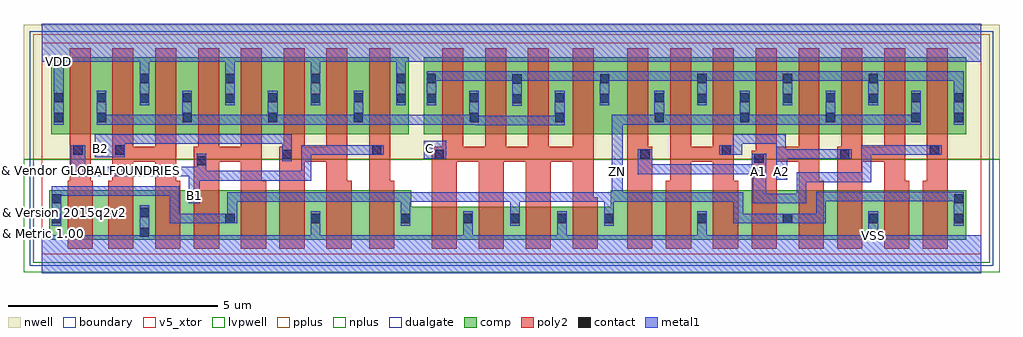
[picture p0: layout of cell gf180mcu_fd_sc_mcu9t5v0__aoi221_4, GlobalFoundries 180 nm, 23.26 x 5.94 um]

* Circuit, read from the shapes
.subckt gf180mcu_fd_sc_mcu9t5v0__aoi221_4 A1 A2 B1 B2 C VDD VSS ZN
XM1 n1 B1 ZN VSUBS nfet_05v0 w=1.185u l=0.6u
XM2 VSS B2 n1 VSUBS nfet_05v0 w=1.185u l=0.6u
XM3 n2 B2 VSS VSUBS nfet_05v0 w=1.185u l=0.6u
XM4 ZN B1 n2 VSUBS nfet_05v0 w=1.185u l=0.6u
XM5 n3 B1 ZN VSUBS nfet_05v0 w=1.185u l=0.6u
XM6 VSS B2 n3 VSUBS nfet_05v0 w=1.185u l=0.6u
XM7 n4 B2 VSS VSUBS nfet_05v0 w=1.185u l=0.6u
XM8 ZN B1 n4 VSUBS nfet_05v0 w=1.185u l=0.6u
XM9 VSS C ZN VSUBS nfet_05v0 w=0.79u l=0.6u m=4
XM10 n5 A1 ZN VSUBS nfet_05v0 w=1.185u l=0.6u
XM11 VSS A2 n5 VSUBS nfet_05v0 w=1.185u l=0.6u
XM12 n6 A2 VSS VSUBS nfet_05v0 w=1.185u l=0.6u
XM13 ZN A1 n6 VSUBS nfet_05v0 w=1.185u l=0.6u
XM14 n7 A1 ZN VSUBS nfet_05v0 w=1.185u l=0.6u
XM15 VSS A2 n7 VSUBS nfet_05v0 w=1.185u l=0.6u
XM16 n8 A2 VSS VSUBS nfet_05v0 w=1.185u l=0.6u
XM17 ZN A1 n8 VSUBS nfet_05v0 w=1.185u l=0.6u
XM18 n9 B1 VDD n10 pfet_05v0 w=1.83u l=0.5u m=4
XM19 VDD B2 n9 n10 pfet_05v0 w=1.83u l=0.5u m=4
XM20 n9 C n11 n10 pfet_05v0 w=1.83u l=0.5u m=4
XM21 ZN A1 n11 n10 pfet_05v0 w=1.83u l=0.5u m=4
XM22 n11 A2 ZN n10 pfet_05v0 w=1.83u l=0.5u m=4
.ends

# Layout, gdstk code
import gdstk
lib = gdstk.Library(unit=1e-6, precision=1e-09)
def R(c, l, rs):  # rectangles x0, y0, x1, y1
    for r in rs: c.add(gdstk.rectangle(r[:2], r[2:], *l))
def A(c, l, x, y, w, h, nx, ny, dx, dy):  # array of equal rectangles
    R(c, l, [(x+i*dx, y+j*dy, x+i*dx+w, y+j*dy+h) for i in range(nx) for j in range(ny)])
def P(c, l, *ps):  # polygons
    for p in ps: c.add(gdstk.Polygon(p, *l))
boundary = (0, 0)
nwell = (21, 0)
comp = (22, 0)
poly2 = (30, 0)
pplus = (31, 0)
nplus = (32, 0)
contact = (33, 0)
metal1 = (34, 0)
dualgate = (55, 0)
v5_xtor = (112, 1)
lvpwell = (204, 0)

gf180mcu_fd_sc_mcu9t5v0_ = lib.new_cell('gf180mcu_fd_sc_mcu9t5v0__aoi221_4')
R(gf180mcu_fd_sc_mcu9t5v0_, boundary, [(0,0,22.4,5.04)])
R(gf180mcu_fd_sc_mcu9t5v0_, nwell, [(-0.43,2.265,22.83,5.47)])
R(gf180mcu_fd_sc_mcu9t5v0_, comp, [(0.23,2.865,8.75,4.695), (9.11,2.865,22.04,4.695)])
P(gf180mcu_fd_sc_mcu9t5v0_, comp, [(0.18,0.345),(0.18,1.53),(8.81,1.53),(8.81,1.135),(13.56,1.135),(13.56,1.53),(22.04,1.53),(22.04,0.345)])
P(gf180mcu_fd_sc_mcu9t5v0_, poly2, [(0.62,0.125),(0.62,1.75),(0.67,1.75),(0.67,4.915),(1.17,4.915),(1.17,1.75),(1.22,1.75),(1.22,0.125)],
  [(1.59,0.125),(1.59,1.75),(1.69,1.75),(1.69,4.915),(2.19,4.915),(2.19,2.565),(2.71,2.565),(2.71,4.915),(3.21,4.915),(3.21,1.75),(3.31,1.75),(3.31,0.125),(2.71,0.125),(2.71,2.205),(2.19,2.205),(2.19,0.125)],
  [(3.63,0.125),(3.63,2.565),(3.73,2.565),(3.73,4.915),(4.23,4.915),(4.23,2.565),(4.75,2.565),(4.75,4.915),(5.25,4.915),(5.25,1.75),(5.35,1.75),(5.35,0.125),(4.75,0.125),(4.75,2.205),(4.23,2.205),(4.23,0.125)],
  [(5.67,0.125),(5.67,2.565),(5.77,2.565),(5.77,4.915),(6.27,4.915),(6.27,2.565),(6.79,2.565),(6.79,4.915),(7.29,4.915),(7.29,1.75),(7.39,1.75),(7.39,0.125),(6.79,0.125),(6.79,2.205),(6.27,2.205),(6.27,0.125)],
  [(7.81,0.125),(7.81,4.915),(8.31,4.915),(8.31,1.75),(8.41,1.75),(8.41,0.125)],
  [(9.3,0.125),(9.3,2.565),(9.55,2.565),(9.55,4.915),(10.05,4.915),(10.05,2.565),(10.57,2.565),(10.57,4.915),(11.07,4.915),(11.07,2.565),(11.59,2.565),(11.59,4.915),(12.09,4.915),(12.09,2.565),(12.66,2.565),(12.66,4.915),(13.16,4.915),(13.16,1.355),(13.26,1.355),(13.26,0.125),(12.66,0.125),(12.66,2.205),(12.14,2.205),(12.14,0.125),(11.54,0.125),(11.54,2.205),(11.02,2.205),(11.02,0.125),(10.42,0.125),(10.42,2.205),(9.9,2.205),(9.9,0.125)],
  [(13.96,0.125),(13.96,4.915),(14.46,4.915),(14.46,2.565),(14.56,2.565),(14.56,0.125)],
  [(14.88,0.125),(14.88,1.75),(14.98,1.75),(14.98,4.915),(15.48,4.915),(15.48,2.565),(16,2.565),(16,4.915),(16.5,4.915),(16.5,1.75),(16.6,1.75),(16.6,0.125),(16,0.125),(16,2.205),(15.48,2.205),(15.48,0.125)],
  [(16.92,0.125),(16.92,2.465),(17.02,2.465),(17.02,4.915),(17.52,4.915),(17.52,2.565),(18.04,2.565),(18.04,4.915),(18.54,4.915),(18.54,1.75),(18.64,1.75),(18.64,0.125),(18.04,0.125),(18.04,2.205),(17.52,2.205),(17.52,0.125)],
  [(18.96,0.125),(18.96,2.565),(19.06,2.565),(19.06,4.915),(19.56,4.915),(19.56,2.565),(20.08,2.565),(20.08,4.915),(20.58,4.915),(20.58,1.75),(20.68,1.75),(20.68,0.125),(20.08,0.125),(20.08,2.205),(19.56,2.205),(19.56,0.125)],
  [(21,0.125),(21,1.75),(21.1,1.75),(21.1,4.915),(21.6,4.915),(21.6,0.125)])
R(gf180mcu_fd_sc_mcu9t5v0_, pplus, [(-0.2,2.265,22.6,5.24)])
R(gf180mcu_fd_sc_mcu9t5v0_, nplus, [(-0.2,-0.2,22.6,2.265)])
A(gf180mcu_fd_sc_mcu9t5v0_, contact, 10.05, 0.74, 0.22, 0.22, 4, 1, 1.12, 0)
A(gf180mcu_fd_sc_mcu9t5v0_, contact, 15.63, 0.74, 0.22, 0.22, 4, 1, 2.04, 0)
A(gf180mcu_fd_sc_mcu9t5v0_, contact, 1.32, 3.15, 0.22, 0.22, 4, 2, 2.04, 0.47)
A(gf180mcu_fd_sc_mcu9t5v0_, contact, 14.61, 3.15, 0.22, 0.22, 4, 2, 2.04, 0.47)
A(gf180mcu_fd_sc_mcu9t5v0_, contact, 2.34, 3.61, 0.22, 0.22, 4, 2, 2.04, 0.47)
A(gf180mcu_fd_sc_mcu9t5v0_, contact, 15.63, 3.61, 0.22, 0.22, 3, 2, 2.04, 0.47)
R(gf180mcu_fd_sc_mcu9t5v0_, contact, [(2.34,0.415,2.56,0.635), (0.25,0.74,0.47,0.96), (4.38,0.74,4.6,0.96), (6.42,0.74,6.64,0.96), (8.56,0.74,8.78,0.96), (2.34,0.885,2.56,1.105), (0.25,1.21,0.47,1.43), (21.75,1.21,21.97,1.43), (3.7,2.12,3.92,2.34), (16.99,2.175,17.21,2.395), (5.74,2.275,5.96,2.495), (9.37,2.275,9.59,2.495), (14.27,2.275,14.49,2.495), (19.03,2.275,19.25,2.495), (0.76,2.375,0.98,2.595), (1.76,2.375,1.98,2.595), (7.88,2.375,8.1,2.595), (16.21,2.375,16.43,2.595), (21.17,2.375,21.39,2.595), (0.3,3.15,0.52,3.37), (10.2,3.15,10.42,3.37), (12.24,3.15,12.46,3.37), (21.75,3.15,21.97,3.37), (11.22,3.595,11.44,3.815), (13.31,3.605,13.53,3.825), (9.18,3.61,9.4,3.83), (0.3,3.62,0.52,3.84), (10.2,3.62,10.42,3.84), (12.24,3.62,12.46,3.84), (21.75,3.62,21.97,3.84), (11.22,4.065,11.44,4.285), (13.31,4.075,13.53,4.295), (9.18,4.08,9.4,4.3)])
R(gf180mcu_fd_sc_mcu9t5v0_, metal1, [(9.11,2.27,9.65,2.71)])
P(gf180mcu_fd_sc_mcu9t5v0_, metal1, [(5.735,2.215),(5.735,2.63),(1.985,2.63),(1.985,2.315),(1.27,2.315),(1.27,2.86),(5.965,2.86),(5.965,2.215)],
  [(3.51,1.21),(3.51,1.855),(0.7,1.855),(0.7,2.6),(1.04,2.6),(1.04,2.085),(3.695,2.085),(3.695,2.4),(3.925,2.4),(3.925,1.985),(6.195,1.985),(6.195,2.6),(8.16,2.6),(8.16,2.37),(6.425,2.37),(6.425,1.755),(3.77,1.755),(3.77,1.21)],
  [(10.34,3.075),(10.34,3.09),(1.315,3.09),(1.315,3.9),(1.545,3.9),(1.545,3.32),(3.355,3.32),(3.355,3.9),(3.585,3.9),(3.585,3.32),(5.395,3.32),(5.395,3.9),(5.625,3.9),(5.625,3.32),(7.435,3.32),(7.435,3.9),(7.665,3.9),(7.665,3.32),(10.195,3.32),(10.195,3.9),(10.425,3.9),(10.425,3.305),(12.235,3.305),(12.235,3.9),(12.465,3.9),(12.465,3.075)],
  [(17.51,1.77),(17.51,2.63),(16.7,2.63),(16.7,2.37),(16.15,2.37),(16.15,2.6),(16.47,2.6),(16.47,2.86),(17.74,2.86),(17.74,2.5),(19.31,2.5),(19.31,2.27),(17.77,2.27),(17.77,1.77)],
  [(16.95,1.21),(16.95,1.91),(14.21,1.91),(14.21,2.5),(14.55,2.5),(14.55,2.14),(16.93,2.14),(16.93,2.4),(17.27,2.4),(17.27,1.44),(18,1.44),(18,1.95),(19.54,1.95),(19.54,2.6),(21.45,2.6),(21.45,2.37),(19.77,2.37),(19.77,1.72),(18.23,1.72),(18.23,1.21)],
  [(0.245,0.68),(0.245,1.625),(3.28,1.625),(3.28,0.965),(4.43,0.965),(4.43,1.48),(13.59,1.48),(13.59,3.32),(14.605,3.32),(14.605,3.9),(14.835,3.9),(14.835,3.32),(16.645,3.32),(16.645,3.9),(16.875,3.9),(16.875,3.32),(18.685,3.32),(18.685,3.9),(18.915,3.9),(18.915,3.32),(20.725,3.32),(20.725,3.9),(20.955,3.9),(20.955,3.09),(13.85,3.09),(13.85,1.48),(16.72,1.48),(16.72,0.965),(18.46,0.965),(18.46,1.49),(21.975,1.49),(21.975,0.68),(21.745,0.68),(21.745,1.26),(18.69,1.26),(18.69,0.735),(16.49,0.735),(16.49,1.25),(13.635,1.25),(13.635,0.68),(13.405,0.68),(13.405,1.25),(11.395,1.25),(11.395,0.68),(11.165,0.68),(11.165,1.25),(8.785,1.25),(8.785,0.68),(8.555,0.68),(8.555,1.25),(4.66,1.25),(4.66,0.735),(3.05,0.735),(3.05,1.395),(0.475,1.395),(0.475,0.68)],
  [(21.745,3.09),(21.745,4.13),(19.935,4.13),(19.935,3.55),(19.705,3.55),(19.705,4.13),(17.895,4.13),(17.895,3.55),(17.665,3.55),(17.665,4.13),(15.855,4.13),(15.855,3.55),(15.625,3.55),(15.625,4.13),(13.535,4.13),(13.535,3.545),(13.305,3.545),(13.305,4.13),(11.445,4.13),(11.445,3.535),(11.215,3.535),(11.215,4.13),(9.405,4.13),(9.405,3.55),(9.175,3.55),(9.175,4.36),(21.975,4.36),(21.975,3.09)],
  [(0,-0.45),(0,0.45),(2.335,0.45),(2.335,1.165),(2.565,1.165),(2.565,0.45),(6.415,0.45),(6.415,1.02),(6.645,1.02),(6.645,0.45),(10.045,0.45),(10.045,1.02),(10.275,1.02),(10.275,0.45),(12.285,0.45),(12.285,1.02),(12.515,1.02),(12.515,0.45),(15.625,0.45),(15.625,1.02),(15.855,1.02),(15.855,0.45),(19.705,0.45),(19.705,1.02),(19.935,1.02),(19.935,0.45),(22.4,0.45),(22.4,-0.45)],
  [(0.295,3.09),(0.295,4.59),(0,4.59),(0,5.49),(22.4,5.49),(22.4,4.59),(8.685,4.59),(8.685,3.55),(8.455,3.55),(8.455,4.59),(6.645,4.59),(6.645,3.55),(6.415,3.55),(6.415,4.59),(4.605,4.59),(4.605,3.55),(4.375,3.55),(4.375,4.59),(2.565,4.59),(2.565,3.55),(2.335,3.55),(2.335,4.59),(0.525,4.59),(0.525,3.09)])
R(gf180mcu_fd_sc_mcu9t5v0_, dualgate, [(-0.28,-0.28,22.68,5.32)])
R(gf180mcu_fd_sc_mcu9t5v0_, v5_xtor, [(0,0,22.4,5.04)])
R(gf180mcu_fd_sc_mcu9t5v0_, lvpwell, [(-0.43,-0.43,22.83,2.265)])
gf180mcu_fd_sc_mcu9t5v0_.add(gdstk.Label('A1', (17.08,1.96), layer=34, texttype=10))
gf180mcu_fd_sc_mcu9t5v0_.add(gdstk.Label('A2', (17.64,1.96), layer=34, texttype=10))
gf180mcu_fd_sc_mcu9t5v0_.add(gdstk.Label('B1', (3.64,1.4), layer=34, texttype=10))
gf180mcu_fd_sc_mcu9t5v0_.add(gdstk.Label('B2', (1.4,2.52), layer=34, texttype=10))
gf180mcu_fd_sc_mcu9t5v0_.add(gdstk.Label('C', (9.24,2.52), layer=34, texttype=10))
gf180mcu_fd_sc_mcu9t5v0_.add(gdstk.Label('VDD', (0.41,4.59), layer=34, texttype=10))
gf180mcu_fd_sc_mcu9t5v0_.add(gdstk.Label('VSS', (19.82,0.45), layer=34, texttype=10))
gf180mcu_fd_sc_mcu9t5v0_.add(gdstk.Label('ZN', (13.72,1.96), layer=34, texttype=10))
gf180mcu_fd_sc_mcu9t5v0_.add(gdstk.Label('& Vendor GLOBALFOUNDRIES', (0,2), layer=63, texttype=63))
gf180mcu_fd_sc_mcu9t5v0_.add(gdstk.Label('& Product GF018hv5v_green_sc9', (0,1.5), layer=63, texttype=63))
gf180mcu_fd_sc_mcu9t5v0_.add(gdstk.Label('& Version 2015q2v2', (0,1), layer=63, texttype=63))
gf180mcu_fd_sc_mcu9t5v0_.add(gdstk.Label('& Metric 1.00', (0,0.5), layer=63, texttype=63))

lib.write_gds('gf180mcu_fd_sc_mcu9t5v0__aoi221_4.gds')
